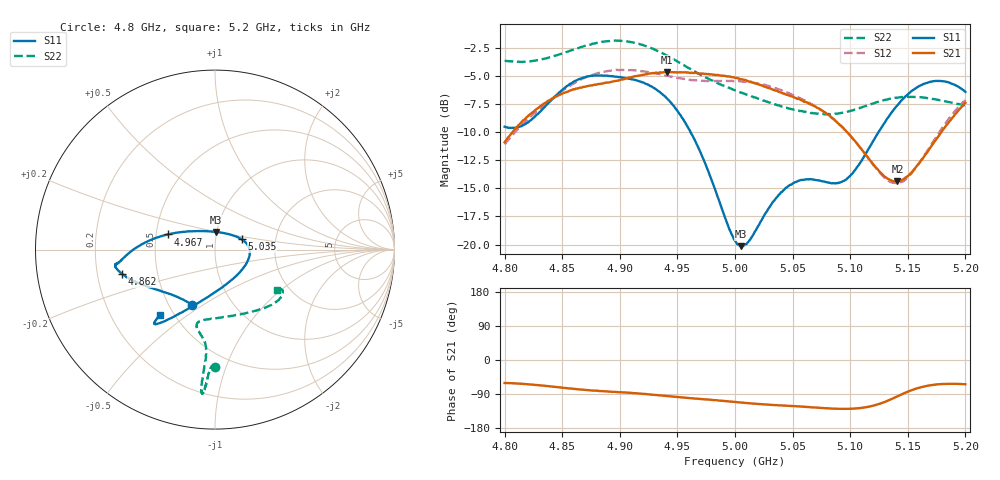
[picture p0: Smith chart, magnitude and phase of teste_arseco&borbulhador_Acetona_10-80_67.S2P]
! Network Analyzer HP8722D
! Hewlett-Packard
! Data name: Linha & Wilkinson
! Saver's name: Rodrigo Anjos
! Comments: Teste da utilização de aquisição
! continua pelo VNA HP8722D
! Time and date: 17/4/2025 14:55
!  Frequency  S11  S21  S12  S22
# HZ  S  MA R 50
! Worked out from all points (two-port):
!   401 points, 4.8 GHz to 5.2 GHz, reference 50 ohm
!   highest |S21| = -4.68 dB at 4.941 GHz (marker M1); lowest = -14.4 dB at 5.141 GHz (marker M2)
!   |S21| within 3 dB of the highest: 4.832 GHz to 5.068 GHz (236.8 MHz wide, 4.78 % of centre); 5.197654 GHz to end of sweep
!   lowest |S11| = -20.1 dB at 5.005 GHz (marker M3), VSWR 1.22, Z = 49.6 + j9.84 ohm
!   |S11| at or under -10 dB: 4.961 GHz to 5.125 GHz (163.4 MHz wide, 3.24 % of centre)
!   |S22| runs from -8.4 to -1.9 dB; largest |S21 - S12| = 0.88
!   S11 on the Smith chart (normalised r, x): 4.8 GHz: 0.65, -0.45; 4.862 GHz: 0.31, -0.12; 4.967 GHz: 0.57, +0.11; 5.035 GHz: 1.34, +0.16; 5.2 GHz: 0.42, -0.40
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4.8e9  0.3337 -113.0  0.2849 -60.7  0.2789 -175.0  0.6557 -89.9
4.819e9  0.3458 -132.8  0.3671 -63.8  0.3551 -173.3  0.6507 -91.4
4.862e9  0.535 -165.2  0.4931 -76.8  0.5266 -176.5  0.7411 -93.6
4.867e9  0.548 -167.3  0.4981 -78.2  0.5427 -177.5  0.7549 -93.9
4.898e9  0.5553 -171.7  0.5342 -84.6  0.5963 176.0  0.8042 -95.0
4.934e9  0.4789 -177.8  0.5783 -93.2  0.5739 172.0  0.7192 -95.6
4.941e9  0.4453 179.1  0.5836 -95.0  0.5621 172.0  0.6911 -95.4
4.967e9  0.2774 162.3  0.5778 -102.0  0.5354 174.1  0.5786 -94.9
5e9  0.1041 103.7  0.5507 -110.8  0.5322 176.5  0.4842 -99.0
5.005e9  0.09832 86.5  0.5426 -112.3  0.5305 176.4  0.4727 -100.2
5.012e9  0.1035 63.7  0.5293 -114.1  0.5255 176.2  0.4603 -101.7
5.035e9  0.1591 21.2  0.4832 -119.1  0.4958 175.0  0.4191 -103.5
5.05e9  0.1865 5.9  0.4541 -121.5  0.4614 174.3  0.3988 -99.8
5.067e9  0.1947 -12.3  0.4163 -124.8  0.419 173.9  0.3844 -90.9
5.086e9  0.1872 -42.2  0.36 -128.2  0.3577 173.7  0.3798 -76.8
5.097e9  0.1953 -65.0  0.3166 -128.9  0.3167 174.4  0.3885 -67.6
5.134e9  0.3739 -115.7  0.1941 -105.5  0.1907 -158.4  0.4436 -43.0
5.141e9  0.4159 -119.8  0.1906 -95.6  0.1874 -147.3  0.4492 -39.9
5.153e9  0.4793 -124.7  0.2083 -80.0  0.2063 -129.1  0.4529 -35.6
5.17e9  0.529 -128.4  0.2713 -66.4  0.2759 -112.6  0.4446 -31.8
5.184e9  0.5273 -129.7  0.3418 -62.9  0.353 -107.1  0.4313 -30.8
5.2e9  0.4765 -130.2  0.4258 -64.0  0.438 -106.1  0.4145 -33.1
